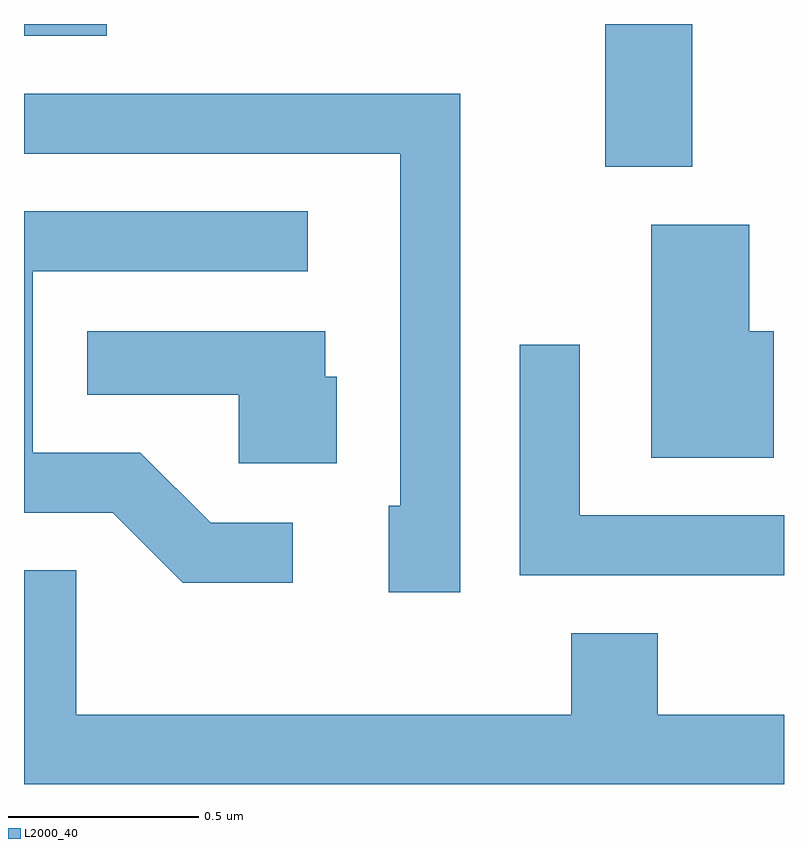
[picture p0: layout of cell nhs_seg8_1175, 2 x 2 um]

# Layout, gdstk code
import gdstk
lib = gdstk.Library(unit=1e-6, precision=1e-09)
def R(c, l, rs):  # rectangles x0, y0, x1, y1
    for r in rs: c.add(gdstk.rectangle(r[:2], r[2:], *l))
def P(c, l, *ps):  # polygons
    for p in ps: c.add(gdstk.Polygon(p, *l))
L2000_40 = (2000, 40)

nhs_seg8_1175 = lib.new_cell('nhs_seg8_1175')
R(nhs_seg8_1175, L2000_40, [(195.141,1886.966,195.369,1887.342), (193.611,1887.311,193.829,1887.342)])
P(nhs_seg8_1175, L2000_40, [(194.759,1887.159),(193.611,1887.159),(193.611,1887.001),(194.601,1887.001),(194.601,1886.074),(194.571,1886.074),(194.571,1885.846),(194.759,1885.846)],
  [(194.318,1886.029),(194.102,1886.029),(193.917,1886.214),(193.634,1886.214),(193.634,1886.691),(194.358,1886.691),(194.358,1886.849),(193.611,1886.849),(193.611,1886.056),(193.844,1886.056),(194.029,1885.871),(194.318,1885.871)],
  [(195.584,1886.534),(195.519,1886.534),(195.519,1886.814),(195.261,1886.814),(195.261,1886.201),(195.584,1886.201)],
  [(194.434,1886.414),(194.404,1886.414),(194.404,1886.534),(193.778,1886.534),(193.778,1886.366),(194.176,1886.366),(194.176,1886.186),(194.434,1886.186)],
  [(195.611,1886.049),(195.074,1886.049),(195.074,1886.498),(194.916,1886.498),(194.916,1885.891),(195.611,1885.891)],
  [(195.611,1885.524),(195.279,1885.524),(195.279,1885.739),(195.051,1885.739),(195.051,1885.524),(193.749,1885.524),(193.749,1885.904),(193.611,1885.904),(193.611,1885.342),(195.611,1885.342)])

lib.write_gds('nhs_seg8_1175.gds')
